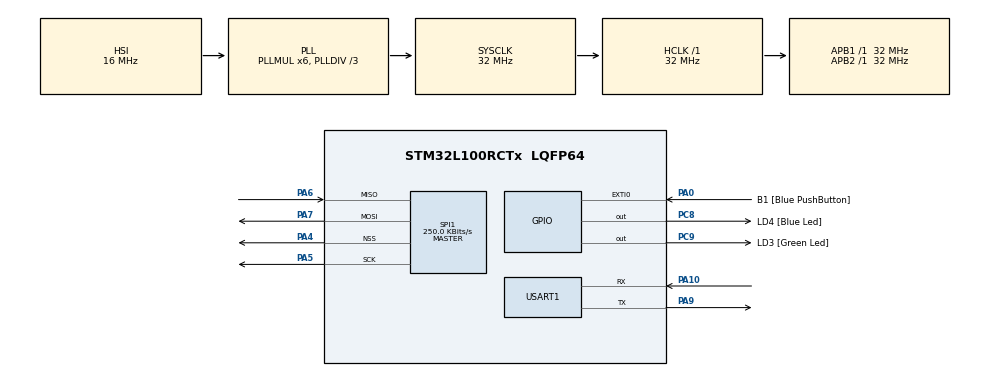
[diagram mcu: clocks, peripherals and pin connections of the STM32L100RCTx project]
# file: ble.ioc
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Mcu.Family=STM32L1
Mcu.Name=STM32L100RCTx
Mcu.Package=LQFP64
NVIC.PriorityGroup=NVIC_PRIORITYGROUP_0
PA0-WKUP1.GPIO_Label=B1 [Blue PushButton]
PA0-WKUP1.GPIO_ModeDefaultEXTI=GPIO_MODE_EVT_RISING
PA0-WKUP1.Signal=GPXTI0
PA10.Mode=Asynchronous
PA10.Signal=USART1_RX
PA13.GPIO_Label=SWDIO
PA13.Mode=Serial_Wire
PA13.Signal=SYS_JTMS-SWDIO
PA14.GPIO_Label=SWCLK
PA14.Mode=Serial_Wire
PA14.Signal=SYS_JTCK-SWCLK
PA4.Mode=NSS_Signal_Hard_Output
PA4.Signal=SPI1_NSS
PA5.Mode=Full_Duplex_Master
PA5.Signal=SPI1_SCK
PA6.Mode=Full_Duplex_Master
PA6.Signal=SPI1_MISO
PA7.Mode=Full_Duplex_Master
PA7.Signal=SPI1_MOSI
PA9.Mode=Asynchronous
PA9.Signal=USART1_TX
PB3.GPIO_Label=SWO
PB3.Signal=SYS_JTDO-TRACESWO
PC14-OSC32_IN.GPIO_Label=PC14-OSC32_IN
PC14-OSC32_IN.Signal=RCC_OSC32_IN
PC15-OSC32_OUT.GPIO_Label=PC15-OSC32_OUT
PC15-OSC32_OUT.Signal=RCC_OSC32_OUT
PC8.GPIO_Label=LD4 [Blue Led]
PC8.Signal=GPIO_Output
PC9.GPIO_Label=LD3 [Green Led]
PC9.Signal=GPIO_Output
PH0-OSC_IN.GPIO_Label=PH0-OSC_IN
PH0-OSC_IN.Mode=HSE-External-Clock-Source
PH0-OSC_IN.Signal=RCC_OSC_IN
PH1-OSC_OUT.GPIO_Label=PH1-OSC_OUT
PH1-OSC_OUT.Signal=RCC_OSC_OUT
ProjectManager.HeapSize=0x200
ProjectManager.StackSize=0x400
ProjectManager.TargetToolchain=STM32CubeIDE
RCC.48MHZClocksFreq_Value=48000000
RCC.AHBFreq_Value=32000000
RCC.APB1Freq_Value=32000000
RCC.APB1TimFreq_Value=32000000
RCC.APB2Freq_Value=32000000
RCC.APB2TimFreq_Value=32000000
RCC.HCLKFreq_Value=32000000
RCC.HSE_VALUE=8000000
RCC.HSI_VALUE=16000000
RCC.LSEState=RCC_LSE_ON
RCC.LSE_VALUE=32768
RCC.MSI_VALUE=2097000
RCC.PLLDIV=RCC_PLL_DIV3
RCC.PLLMUL=RCC_PLL_MUL6
RCC.RTCClockSelectionVirtual=RCC_RTCCLKSOURCE_LSE
RCC.SYSCLKFreq_VALUE=32000000
RCC.SYSCLKSource=RCC_SYSCLKSOURCE_PLLCLK
RCC.USBOutput=48000000
RCC.VCOOutputFreq_Value=96000000
SPI1.BaudRatePrescaler=SPI_BAUDRATEPRESCALER_128
SPI1.CLKPhase=SPI_PHASE_1EDGE
SPI1.CalculateBaudRate=250.0 KBits/s
SPI1.Direction=SPI_DIRECTION_2LINES
SPI1.Mode=SPI_MODE_MASTER
SPI1.VirtualNSS=VM_NSSHARD
SPI1.VirtualType=VM_MASTER
USART1.VirtualMode=VM_ASYNC
board=STM32L100C-DISCO

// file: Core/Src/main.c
/* USER CODE BEGIN Header */
/**
 ******************************************************************************
 * @file           : main.c
 * @brief          : Main program body
 ******************************************************************************
 * @attention
 *
 * <h2><center>&copy; Copyright (c) 2020 STMicroelectronics.
 * All rights reserved.</center></h2>
 *
 * This software component is licensed by ST under BSD 3-Clause license,
 * the "License"; You may not use this file except in compliance with the
 * License. You may obtain a copy of the License at:
 *                        opensource.org/licenses/BSD-3-Clause
 *
 ******************************************************************************
 */
/* USER CODE END Header */

#include "main.h"

SPI_HandleTypeDef hspi1;

UART_HandleTypeDef huart1;

void SystemClock_Config(void);
static void MX_GPIO_Init(void);
static void MX_SPI1_Init(void);
static void MX_USART1_UART_Init(void);

int main(void)
{

	/* MCU Configuration--------------------------------------------------------*/

	/* Reset of all peripherals, Initializes the Flash interface and the Systick. */
	HAL_Init();

	/* Configure the system clock */
	SystemClock_Config();

	/* Initialize all configured peripherals */
	MX_GPIO_Init();
	MX_SPI1_Init();
	MX_USART1_UART_Init();
	/* USER CODE BEGIN 2 */
	uint8_t pTxData[20] = { 0x10, 0x00, 0x0a, 0x4, 0x41, 0x54, 0x5a, 0x0a, 0xff, 0xff, 0xff, 0xff, 0xff, 0xff, 0xff, 0xff, 0xff, 0xff, 0xff, 0xff };
	uint8_t eRxResp[20] = { 0x20, 0x00, 0x0a, 0x4, 0x4f, 0x4b, 0x5a, 0x0d, 0x0a, 0xff, 0xff, 0xff, 0xff, 0xff, 0xff, 0xff, 0xff, 0xff, 0xff, 0xff };
	uint8_t pRxData[20] = {0};
	HAL_SPI_Init(&hspi1);
	HAL_SPI_TransmitReceive(&hspi1, pTxData, pRxData, sizeof(pTxData), 100);
	HAL_SPI_DeInit(&hspi1);
	if( memcmp(eRxResp, pRxData, sizeof(eRxResp)) != 0 ){
		HAL_UART_Transmit(&huart1, pRxData, sizeof(pRxData), 100);
	}
	HAL_Delay(1000);
	/* USER CODE END 2 */

	/* Infinite loop */
	while (1)
	{

		/* USER CODE BEGIN 3 */
		uint8_t pTxData[3][20] = {
				{ 0x10, 0x01, 0x0a, 0x10, 0x54, 0x68, 0x65, 0x20, 0x71, 0x75, 0x69, 0x63, 0x6b, 0x20, 0x62, 0x72, 0x6f, 0x77, 0x6e, 0x20},
				{ 0x10, 0x01, 0x0a, 0x10, 0x66, 0x6f, 0x78, 0x20, 0x6a, 0x75, 0x6d, 0x70, 0x73, 0x20, 0x6f, 0x76, 0x65, 0x72, 0x20, 0x74},
				{ 0x10, 0x01, 0x0a, 0xc, 0x68, 0x65, 0x20, 0x6c, 0x61, 0x7a, 0x79, 0x20, 0x64, 0x6f, 0x67, 0x0a, 0xff, 0xff, 0xff, 0xff}
		};
		uint8_t eRxResp[20] = { 0x20, 0x01, 0x0a, 0x00, 0xff, 0xff, 0xff, 0xff, 0xff, 0xff, 0xff, 0xff, 0xff, 0xff, 0xff, 0xff, 0xff, 0xff, 0xff, 0xff };
		for(int i = 0; i < 3; ++i){
			uint8_t pRxData[20] = { 0 };
			HAL_SPI_Init(&hspi1);
			HAL_SPI_TransmitReceive(&hspi1, &pTxData[i][0], pRxData, 20, 100);
			HAL_SPI_DeInit(&hspi1);
			if( memcmp(eRxResp, pRxData, sizeof(eRxResp)) != 0 ){
				HAL_UART_Transmit(&huart1, pRxData, sizeof(pRxData), 100);
			}
			HAL_Delay(50);
		}
		HAL_Delay(500);
	}
	/* USER CODE END 3 */
}

void SystemClock_Config(void)
{
	RCC_OscInitTypeDef RCC_OscInitStruct = {0};
	RCC_ClkInitTypeDef RCC_ClkInitStruct = {0};

	/** Configure the main internal regulator output voltage
	 */
	__HAL_PWR_VOLTAGESCALING_CONFIG(PWR_REGULATOR_VOLTAGE_SCALE1);
	/** Initializes the CPU, AHB and APB busses clocks
	 */
	RCC_OscInitStruct.OscillatorType = RCC_OSCILLATORTYPE_HSI;
	RCC_OscInitStruct.HSIState = RCC_HSI_ON;
	RCC_OscInitStruct.HSICalibrationValue = RCC_HSICALIBRATION_DEFAULT;
	RCC_OscInitStruct.PLL.PLLState = RCC_PLL_ON;
	RCC_OscInitStruct.PLL.PLLSource = RCC_PLLSOURCE_HSI;
	RCC_OscInitStruct.PLL.PLLMUL = RCC_PLL_MUL6;
	RCC_OscInitStruct.PLL.PLLDIV = RCC_PLL_DIV3;
	if (HAL_RCC_OscConfig(&RCC_OscInitStruct) != HAL_OK)
	{
		Error_Handler();
	}
	/** Initializes the CPU, AHB and APB busses clocks
	 */
	RCC_ClkInitStruct.ClockType = RCC_CLOCKTYPE_HCLK|RCC_CLOCKTYPE_SYSCLK
			|RCC_CLOCKTYPE_PCLK1|RCC_CLOCKTYPE_PCLK2;
	RCC_ClkInitStruct.SYSCLKSource = RCC_SYSCLKSOURCE_PLLCLK;
	RCC_ClkInitStruct.AHBCLKDivider = RCC_SYSCLK_DIV1;
	RCC_ClkInitStruct.APB1CLKDivider = RCC_HCLK_DIV1;
	RCC_ClkInitStruct.APB2CLKDivider = RCC_HCLK_DIV1;

	if (HAL_RCC_ClockConfig(&RCC_ClkInitStruct, FLASH_LATENCY_1) != HAL_OK)
	{
		Error_Handler();
	}
}

static void MX_SPI1_Init(void)
{

	/* SPI1 parameter configuration*/
	hspi1.Instance = SPI1;
	hspi1.Init.Mode = SPI_MODE_MASTER;
	hspi1.Init.Direction = SPI_DIRECTION_2LINES;
	hspi1.Init.DataSize = SPI_DATASIZE_8BIT;
	hspi1.Init.CLKPolarity = SPI_POLARITY_LOW;
	hspi1.Init.CLKPhase = SPI_PHASE_1EDGE;
	hspi1.Init.NSS = SPI_NSS_HARD_OUTPUT;
	hspi1.Init.BaudRatePrescaler = SPI_BAUDRATEPRESCALER_128;
	hspi1.Init.FirstBit = SPI_FIRSTBIT_MSB;
	hspi1.Init.TIMode = SPI_TIMODE_DISABLE;
	hspi1.Init.CRCCalculation = SPI_CRCCALCULATION_DISABLE;
	hspi1.Init.CRCPolynomial = 10;
	if (HAL_SPI_Init(&hspi1) != HAL_OK)
	{
		Error_Handler();
	}

}

static void MX_USART1_UART_Init(void)
{

	huart1.Instance = USART1;
	huart1.Init.BaudRate = 115200;
	huart1.Init.WordLength = UART_WORDLENGTH_8B;
	huart1.Init.StopBits = UART_STOPBITS_1;
	huart1.Init.Parity = UART_PARITY_NONE;
	huart1.Init.Mode = UART_MODE_TX_RX;
	huart1.Init.HwFlowCtl = UART_HWCONTROL_NONE;
	huart1.Init.OverSampling = UART_OVERSAMPLING_16;
	if (HAL_UART_Init(&huart1) != HAL_OK)
	{
		Error_Handler();
	}

}

static void MX_GPIO_Init(void)
{
	GPIO_InitTypeDef GPIO_InitStruct = {0};

	/* GPIO Ports Clock Enable */
	__HAL_RCC_GPIOC_CLK_ENABLE();
	__HAL_RCC_GPIOH_CLK_ENABLE();
	__HAL_RCC_GPIOA_CLK_ENABLE();
	__HAL_RCC_GPIOB_CLK_ENABLE();

	/*Configure GPIO pin Output Level */
	HAL_GPIO_WritePin(GPIOC, LD4_Pin|LD3_Pin, GPIO_PIN_RESET);

	/*Configure GPIO pin : B1_Pin */
	GPIO_InitStruct.Pin = B1_Pin;
	GPIO_InitStruct.Mode = GPIO_MODE_EVT_RISING;
	GPIO_InitStruct.Pull = GPIO_NOPULL;
	HAL_GPIO_Init(B1_GPIO_Port, &GPIO_InitStruct);

	/*Configure GPIO pins : LD4_Pin LD3_Pin */
	GPIO_InitStruct.Pin = LD4_Pin|LD3_Pin;
	GPIO_InitStruct.Mode = GPIO_MODE_OUTPUT_PP;
	GPIO_InitStruct.Pull = GPIO_NOPULL;
	GPIO_InitStruct.Speed = GPIO_SPEED_FREQ_LOW;
	HAL_GPIO_Init(GPIOC, &GPIO_InitStruct);

}

void Error_Handler(void)
{
	/* USER CODE BEGIN Error_Handler_Debug */
	/* User can add his own implementation to report the HAL error return state */
	while(1);
	/* USER CODE END Error_Handler_Debug */
}

/************************ (C) COPYRIGHT STMicroelectronics *****END OF FILE****/
